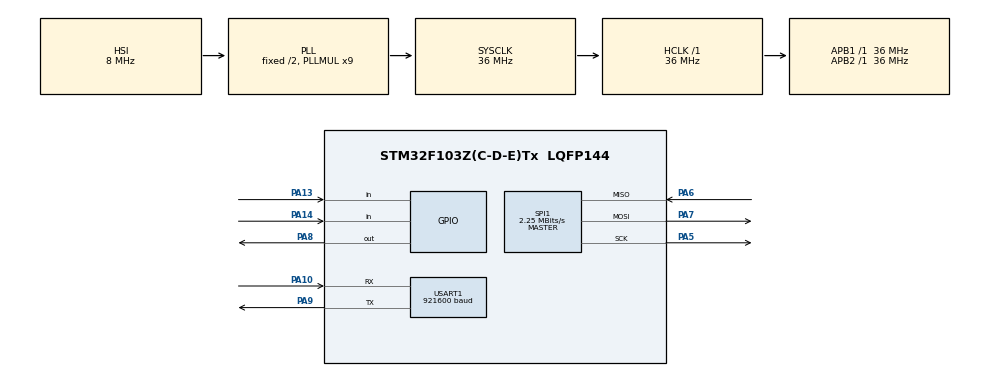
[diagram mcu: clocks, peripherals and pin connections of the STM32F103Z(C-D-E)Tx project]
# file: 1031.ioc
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Dma.Request0=USART1_RX
Dma.Request1=USART1_TX
Dma.Request2=SPI1_RX
Dma.Request3=SPI1_TX
Dma.SPI1_RX.2.Direction=DMA_PERIPH_TO_MEMORY
Dma.SPI1_RX.2.Instance=DMA1_Channel2
Dma.SPI1_RX.2.MemDataAlignment=DMA_MDATAALIGN_BYTE
Dma.SPI1_RX.2.MemInc=DMA_MINC_ENABLE
Dma.SPI1_RX.2.Mode=DMA_NORMAL
Dma.SPI1_RX.2.PeriphDataAlignment=DMA_PDATAALIGN_BYTE
Dma.SPI1_RX.2.PeriphInc=DMA_PINC_DISABLE
Dma.SPI1_RX.2.Priority=DMA_PRIORITY_LOW
Dma.SPI1_TX.3.Direction=DMA_MEMORY_TO_PERIPH
Dma.SPI1_TX.3.Instance=DMA1_Channel3
Dma.SPI1_TX.3.MemDataAlignment=DMA_MDATAALIGN_BYTE
Dma.SPI1_TX.3.MemInc=DMA_MINC_ENABLE
Dma.SPI1_TX.3.Mode=DMA_NORMAL
Dma.SPI1_TX.3.PeriphDataAlignment=DMA_PDATAALIGN_BYTE
Dma.SPI1_TX.3.PeriphInc=DMA_PINC_DISABLE
Dma.SPI1_TX.3.Priority=DMA_PRIORITY_LOW
Dma.USART1_RX.0.Direction=DMA_PERIPH_TO_MEMORY
Dma.USART1_RX.0.Instance=DMA1_Channel5
Dma.USART1_RX.0.MemDataAlignment=DMA_MDATAALIGN_BYTE
Dma.USART1_RX.0.MemInc=DMA_MINC_ENABLE
Dma.USART1_RX.0.Mode=DMA_NORMAL
Dma.USART1_RX.0.PeriphDataAlignment=DMA_PDATAALIGN_BYTE
Dma.USART1_RX.0.PeriphInc=DMA_PINC_DISABLE
Dma.USART1_RX.0.Priority=DMA_PRIORITY_LOW
Dma.USART1_TX.1.Direction=DMA_MEMORY_TO_PERIPH
Dma.USART1_TX.1.Instance=DMA1_Channel4
Dma.USART1_TX.1.MemDataAlignment=DMA_MDATAALIGN_BYTE
Dma.USART1_TX.1.MemInc=DMA_MINC_ENABLE
Dma.USART1_TX.1.Mode=DMA_NORMAL
Dma.USART1_TX.1.PeriphDataAlignment=DMA_PDATAALIGN_BYTE
Dma.USART1_TX.1.PeriphInc=DMA_PINC_DISABLE
Dma.USART1_TX.1.Priority=DMA_PRIORITY_LOW
Mcu.Family=STM32F1
Mcu.Name=STM32F103Z(C-D-E)Tx
Mcu.Package=LQFP144
NVIC.DMA1_Channel2_IRQn=true\:0\:0\:false\:false\:true\:false
NVIC.DMA1_Channel3_IRQn=true\:0\:0\:false\:false\:true\:false
NVIC.DMA1_Channel4_IRQn=true\:0\:0\:false\:false\:true\:false
NVIC.DMA1_Channel5_IRQn=true\:0\:0\:false\:false\:true\:false
NVIC.PriorityGroup=NVIC_PRIORITYGROUP_4
NVIC.SPI1_IRQn=true\:0\:0\:false\:false\:true\:true
NVIC.USART1_IRQn=true\:0\:0\:false\:false\:true\:true
PA10.Mode=Asynchronous
PA10.Signal=USART1_RX
PA13.Signal=GPIO_Input
PA14.Signal=GPIO_Input
PA5.Mode=Full_Duplex_Master
PA5.Signal=SPI1_SCK
PA6.Mode=Full_Duplex_Master
PA6.Signal=SPI1_MISO
PA7.Mode=Full_Duplex_Master
PA7.Signal=SPI1_MOSI
PA8.Signal=GPIO_Output
PA9.Mode=Asynchronous
PA9.Signal=USART1_TX
ProjectManager.HeapSize=0x200
ProjectManager.StackSize=0x400
ProjectManager.TargetToolchain=EWARM V8
RCC.AHBFreq_Value=36000000
RCC.APB1Freq_Value=36000000
RCC.APB1TimFreq_Value=36000000
RCC.APB2Freq_Value=36000000
RCC.APB2TimFreq_Value=36000000
RCC.HCLKFreq_Value=36000000
RCC.PLLMUL=RCC_PLL_MUL9
RCC.SYSCLKFreq_VALUE=36000000
RCC.SYSCLKSource=RCC_SYSCLKSOURCE_PLLCLK
RCC.USBFreq_Value=36000000
SPI1.BaudRatePrescaler=SPI_BAUDRATEPRESCALER_16
SPI1.CLKPhase=SPI_PHASE_1EDGE
SPI1.CLKPolarity=SPI_POLARITY_HIGH
SPI1.CalculateBaudRate=2.25 MBits/s
SPI1.Direction=SPI_DIRECTION_2LINES
SPI1.FirstBit=SPI_FIRSTBIT_MSB
SPI1.Mode=SPI_MODE_MASTER
SPI1.VirtualType=VM_MASTER
STMicroelectronics.X-CUBE-MEMS1.5.2.1.BoardOoComponentJjMEMS.apiComponent0=Board Extension\:IKS01A2
STMicroelectronics.X-CUBE-MEMS1.5.2.1.BoardOoComponentJjMEMS.apiDoc0=Documentation/X_CUBE_MEMS1.chm
STMicroelectronics.X-CUBE-MEMS1.5.2.1.BoardOoComponentJjMEMS.cmp_version0=5.2.1
STMicroelectronics.X-CUBE-MEMS1.5.2.1.BoardOoComponentJjMEMS.component0=Board Component
STMicroelectronics.X-CUBE-MEMS1.5.2.1.BoardOoComponentJjMEMS.description0=MEMS library for custom boards,LSM6DSL component driver
STMicroelectronics.X-CUBE-MEMS1.5.2.1.BoardOoComponentJjMEMS.diagnostic0=This component should operate correctly.
STMicroelectronics.X-CUBE-MEMS1.5.2.1.BoardOoComponentJjMEMS.documentation0=Documentation/STMicroelectronics.X-CUBE-MEMS1_GettingStarted.pdf
STMicroelectronics.X-CUBE-MEMS1.5.2.1.BoardOoComponentJjMEMS.group0=AccGyr
STMicroelectronics.X-CUBE-MEMS1.5.2.1.BoardOoComponentJjMEMS.paramName0=MEMSCcBoardOoComponentJjAccGyrJjLSM6DSL
STMicroelectronics.X-CUBE-MEMS1.5.2.1.BoardOoComponentJjMEMS.sevirity0=none
STMicroelectronics.X-CUBE-MEMS1.5.2.1.BoardOoComponentJjMEMS.sub-group0=LSM6DSL
STMicroelectronics.X-CUBE-MEMS1.5.2.1.BoardOoComponentJjMEMS.variant0=SPI
STMicroelectronics.X-CUBE-MEMS1.5.2.1.BoardOoComponentJjMEMS_apiSize=1
STMicroelectronics.X-CUBE-MEMS1.5.2.1.BoardOoComponentJjMEMS_bundle=MEMS
STMicroelectronics.X-CUBE-MEMS1.5.2.1.BoardOoComponentJjMEMS_class=BoardOoComponent
STMicroelectronics.X-CUBE-MEMS1.5.2.1.BoardOoComponentJjMEMS_name=X-CUBE-MEMS1
STMicroelectronics.X-CUBE-MEMS1.5.2.1.BoardOoComponentJjMEMS_size=1
STMicroelectronics.X-CUBE-MEMS1.5.2.1.BoardOoComponentJjMEMS_vendor=STMicroelectronics
STMicroelectronics.X-CUBE-MEMS1.5.2.1.BoardOoComponentJjMEMS_version=5.2.1
STMicroelectronics.X-CUBE-MEMS1.5.2.1.MEMSCcBoardOoComponentJjAccGyrJjLSM6DSL=SPI
STMicroelectronics.X-CUBE-MEMS1.5.2.1_BoardOoComponentJjMEMS_RteComponent0=\#define LSM6DSL_ACCGYR_SPI
STMicroelectronics.X-CUBE-MEMS1.5.2.1_BoardOoComponentJjMEMS_RteComponentsize=1
STMicroelectronics.X-CUBE-MEMS1.5.2.1_BoardOoExtensionJjMEMS_RteComponentsize=0
STMicroelectronics.X-CUBE-MEMS1.5.2.1_BoardOoSupportJjSTM32CubeIiCustomIiBSPIiDrivers_RteComponentsize=0
STMicroelectronics.X-CUBE-MEMS1.5.2.1_DeviceJjApplication_RteComponentsize=0
STMicroelectronics.X-CUBE-MEMS1.5.2.1_description=Drivers and sample applications for MEMS components
STMicroelectronics.X-CUBE-MEMS1.5.2.1_license=en.DM00367782.pdf
USART1.BaudRate=921600
USART1.VirtualMode=VM_ASYNC
VP_SYS_VS_ND.Mode=No_Debug
board=custom

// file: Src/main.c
/* USER CODE BEGIN Header */
/**
  ******************************************************************************
  * @file           : main.c
  * @brief          : Main program body
  ******************************************************************************
  * This notice applies to any and all portions of this file
  * that are not between comment pairs USER CODE BEGIN and
  * USER CODE END. Other portions of this file, whether
  * inserted by the user or by software development tools
  * are owned by their respective copyright owners.
  *
  * Copyright (c) 2019 STMicroelectronics International N.V.
  * All rights reserved.
  *
  * Redistribution and use in source and binary forms, with or without
  * modification, are permitted, provided that the following conditions are met:
  *
  * 1. Redistribution of source code must retain the above copyright notice,
  *    this list of conditions and the following disclaimer.
  * 2. Redistributions in binary form must reproduce the above copyright notice,
  *    this list of conditions and the following disclaimer in the documentation
  *    and/or other materials provided with the distribution.
  * 3. Neither the name of STMicroelectronics nor the names of other
  *    contributors to this software may be used to endorse or promote products
  *    derived from this software without specific written permission.
  * 4. This software, including modifications and/or derivative works of this
  *    software, must execute solely and exclusively on microcontroller or
  *    microprocessor devices manufactured by or for STMicroelectronics.
  * 5. Redistribution and use of this software other than as permitted under
  *    this license is void and will automatically terminate your rights under
  *    this license.
  *
  * THIS SOFTWARE IS PROVIDED BY STMICROELECTRONICS AND CONTRIBUTORS "AS IS"
  * AND ANY EXPRESS, IMPLIED OR STATUTORY WARRANTIES, INCLUDING, BUT NOT
  * LIMITED TO, THE IMPLIED WARRANTIES OF MERCHANTABILITY, FITNESS FOR A
  * PARTICULAR PURPOSE AND NON-INFRINGEMENT OF THIRD PARTY INTELLECTUAL PROPERTY
  * RIGHTS ARE DISCLAIMED TO THE FULLEST EXTENT PERMITTED BY LAW. IN NO EVENT
  * SHALL STMICROELECTRONICS OR CONTRIBUTORS BE LIABLE FOR ANY DIRECT, INDIRECT,
  * INCIDENTAL, SPECIAL, EXEMPLARY, OR CONSEQUENTIAL DAMAGES (INCLUDING, BUT NOT
  * LIMITED TO, PROCUREMENT OF SUBSTITUTE GOODS OR SERVICES; LOSS OF USE, DATA,
  * OR PROFITS; OR BUSINESS INTERRUPTION) HOWEVER CAUSED AND ON ANY THEORY OF
  * LIABILITY, WHETHER IN CONTRACT, STRICT LIABILITY, OR TORT (INCLUDING
  * NEGLIGENCE OR OTHERWISE) ARISING IN ANY WAY OUT OF THE USE OF THIS SOFTWARE,
  * EVEN IF ADVISED OF THE POSSIBILITY OF SUCH DAMAGE.
  *
  ******************************************************************************
  */
/* USER CODE END Header */

#include "main.h"

/* USER CODE BEGIN Includes */
#include "stdio.h"
#include "string.h"
//#include "mems_conf.h"

/* USER CODE END Includes */

/* USER CODE BEGIN PD */
#define BSP_LSM6DSL_CS_PORT GPIOA
#define BSP_LSM6DSL_CS_PIN GPIO_PIN_8
#define BUFFER_SIZE 2

/* USER CODE END PD */

SPI_HandleTypeDef hspi1;
DMA_HandleTypeDef hdma_spi1_rx;
DMA_HandleTypeDef hdma_spi1_tx;

UART_HandleTypeDef huart1;
DMA_HandleTypeDef hdma_usart1_rx;
DMA_HandleTypeDef hdma_usart1_tx;

/* USER CODE BEGIN PV */
//extern SPI_HandleTypeDef hspi1;

static  char str[100];
volatile uint8_t rx_len=0;                            //接收数据长度
volatile uint8_t recv_end_flag=0;                     //接收完成标记位
uint8_t rx_buffer[BUFFER_SIZE]={0},spi_rx_buffer[100],receivecomplete=0;   //接收数据缓存

/* USER CODE END PV */

void SystemClock_Config(void);
static void MX_GPIO_Init(void);
static void MX_DMA_Init(void);
static void MX_USART1_UART_Init(void);
static void MX_SPI1_Init(void);

/* USER CODE BEGIN 0 */
void DMA_Usart_Send(uint8_t *buf,uint8_t len)//串口发送封装
{
    while (HAL_DMA_GetState(&hdma_usart1_tx) != HAL_DMA_STATE_READY){}

   if(HAL_UART_Transmit_DMA(&huart1, buf,len)!= HAL_OK)
        {
            Error_Handler();
        }
    while (HAL_DMA_GetState(&hdma_usart1_tx) != HAL_DMA_STATE_READY){}
}

void HAL_UART_RxCpltCallback(UART_HandleTypeDef *UartHandle){

     HAL_UART_Transmit_DMA(&huart1,rx_buffer,sizeof(rx_buffer)-1);//可以通过DMA把数据发出去

    HAL_UART_Receive_DMA(&huart1, (uint8_t *)rx_buffer, sizeof(rx_buffer)-1);    //重新使能接收
}
//void HAL_SPI_TxCpltCallback(SPI_HandleTypeDef *hspi)
//{
////if(hspi==&hspi1){
////启动接收
//	HAL_SPI_Receive(&hspi1,spi_rx_buffer,1,1000);

////}
//}
//void HAL_SPI_RxCpltCallback(SPI_HandleTypeDef *hspi)
//{

//	sprintf(str,"spi_rx_buffer = 0x%x \r\n",spi_rx_buffer[0]);
//	receivecomplete=1;

//}

uint8_t SPI1SendByte(uint8_t data)
{
    unsigned char writeCommand[1];
    unsigned char readValue[1];

    writeCommand[0] = data;
//	HAL_GPIO_WritePin(BSP_LSM6DSL_CS_PORT, BSP_LSM6DSL_CS_PIN, GPIO_PIN_RESET);
    HAL_SPI_TransmitReceive(&hspi1, (uint8_t*)&writeCommand, (uint8_t*)&readValue, 1, 10);
//HAL_GPIO_WritePin(BSP_LSM6DSL_CS_PORT, BSP_LSM6DSL_CS_PIN, GPIO_PIN_SET);

	return readValue[0];
}
void SPI1_WriteReg(uint8_t address, uint8_t value)
{
HAL_GPIO_WritePin(BSP_LSM6DSL_CS_PORT, BSP_LSM6DSL_CS_PIN, GPIO_PIN_RESET);
	SPI1SendByte(address);

    SPI1SendByte(value);
HAL_GPIO_WritePin(BSP_LSM6DSL_CS_PORT, BSP_LSM6DSL_CS_PIN, GPIO_PIN_SET);
}

uint8_t SPI1_ReadReg(uint8_t address)
{
    uint8_t	val;

HAL_GPIO_WritePin(BSP_LSM6DSL_CS_PORT, BSP_LSM6DSL_CS_PIN, GPIO_PIN_RESET);
    SPI1SendByte(address);

    val = SPI1SendByte(0xff);
HAL_GPIO_WritePin(BSP_LSM6DSL_CS_PORT, BSP_LSM6DSL_CS_PIN, GPIO_PIN_SET);
    return val;
}
  void lsm6dsl_write_reg1(uint8_t reg, uint8_t value)
{
    uint8_t send_buffer[2];
    send_buffer[0] = reg;// & 0x7f;
    send_buffer[1] = value;
SPI1_WriteReg(send_buffer[0],send_buffer[1]);
//	BSP_LSM6DSL_SPI_Send(send_buffer, 2);

 }

  uint8_t lsm6dsl_read_reg1(uint8_t reg)
{
    uint8_t rxBuf[2];
    uint8_t txBuf[2];
   txBuf[0] = (reg | 0x80) & 0xbf; // reg|0x80;//SPI2_ReadWriteByte((reg|0x80)&0xbf);
    //发送寄存器号 //Ored with "read request" bit
//	if(BSP_LSM6DSL_SPI_Send(txBuf, 1)>0)
//        {
//                if(BSP_LSM6DSL_SPI_Recv(rxBuf, 2)==2)
//                {
//                }
//        }
//	HAL_SPI_TransmitReceive(&hspi1,txBuf, rxBuf,1,100);
rxBuf[0]=SPI1_ReadReg(txBuf[0]);

    return rxBuf[0];
}
/* USER CODE END 0 */

int main(void)
{

  /* MCU Configuration--------------------------------------------------------*/

  /* Reset of all peripherals, Initializes the Flash interface and the Systick. */
  HAL_Init();

  /* Configure the system clock */
  SystemClock_Config();

  /* Initialize all configured peripherals */
  MX_GPIO_Init();
  MX_DMA_Init();
  MX_USART1_UART_Init();
  MX_SPI1_Init();
  /* USER CODE BEGIN 2 */
if(HAL_UART_Receive_DMA(&huart1, (uint8_t *)rx_buffer, sizeof(rx_buffer)-1) != HAL_OK)//main函数while(1)前，启动一次DMA接收
    {
        Error_Handler();
    }
sprintf(str,"begin %d \r\n",1);
DMA_Usart_Send((uint8_t*)str,30);

//    HAL_UART_Transmit(&huart1, (uint8_t *)&"\r\ninto HAL_UART_RxCpltCallback\r\n",32,0xffff);//验证进入这个函数了

//HAL_UART_Transmit_DMA(&huart1,(uint8_t*)str,30);
//HAL_UART_Receive_DMA(&huart1,(uint8_t*)str,1);

//read lsm6dsl
//lsm6dsl_write_reg1(0x12,0x01);
		for(long i=0xffff;i>0;i--);
sprintf(str,"begin 0x%x \r\n",lsm6dsl_read_reg1(0x0f));
DMA_Usart_Send((uint8_t*)str,30);
if(lsm6dsl_read_reg1(0x0f)==0x6a)
{sprintf(str,"id =0x6a \r\n" );
DMA_Usart_Send((uint8_t*)str,30);}
//		str[0]=0x0f;str[1]=0x0f;
//		HAL_SPI_Transmit(&hspi1,(uint8_t*)str,1,1000);
//		while(receivecomplete==1);
//		receivecomplete=0;
//		DMA_Usart_Send((uint8_t*)str,30);
//		 		for(long i=0xfffff;i>0;i--);
//				str[0]=0x0f;str[1]=0x0f;
//    HAL_SPI_Transmit_DMA(&hspi1,(uint8_t*)str,1);
//		    while (HAL_DMA_GetState(&hdma_spi1_tx) != HAL_DMA_STATE_READY){}
//			HAL_SPI_Receive_DMA(&hspi1,(uint8_t*)str,1);
//						    while (HAL_DMA_GetState(&hdma_spi1_rx) != HAL_DMA_STATE_READY){}
//sprintf(str,"begin 0x%x \r\n",str[0]);
//DMA_Usart_Send((uint8_t*)str,30);
  /* USER CODE END 2 */

  /* Infinite loop */
  while (1)
  {
				for(long i=0xfffff;i>0;i--);

sprintf(str,"begin 0x%x \r\n",lsm6dsl_read_reg1(0x0f));
DMA_Usart_Send((uint8_t*)str,30);
if(lsm6dsl_read_reg1(0x0f)==0x6a)
{sprintf(str,"id =0x6a \r\n" );
DMA_Usart_Send((uint8_t*)str,30);}
  }
}

void SystemClock_Config(void)
{
  RCC_OscInitTypeDef RCC_OscInitStruct = {0};
  RCC_ClkInitTypeDef RCC_ClkInitStruct = {0};

  /**Initializes the CPU, AHB and APB busses clocks
  */
  RCC_OscInitStruct.OscillatorType = RCC_OSCILLATORTYPE_HSI;
  RCC_OscInitStruct.HSIState = RCC_HSI_ON;
  RCC_OscInitStruct.HSICalibrationValue = RCC_HSICALIBRATION_DEFAULT;
  RCC_OscInitStruct.PLL.PLLState = RCC_PLL_ON;
  RCC_OscInitStruct.PLL.PLLSource = RCC_PLLSOURCE_HSI_DIV2;
  RCC_OscInitStruct.PLL.PLLMUL = RCC_PLL_MUL9;
  if (HAL_RCC_OscConfig(&RCC_OscInitStruct) != HAL_OK)
  {
    Error_Handler();
  }
  /**Initializes the CPU, AHB and APB busses clocks
  */
  RCC_ClkInitStruct.ClockType = RCC_CLOCKTYPE_HCLK|RCC_CLOCKTYPE_SYSCLK
                              |RCC_CLOCKTYPE_PCLK1|RCC_CLOCKTYPE_PCLK2;
  RCC_ClkInitStruct.SYSCLKSource = RCC_SYSCLKSOURCE_PLLCLK;
  RCC_ClkInitStruct.AHBCLKDivider = RCC_SYSCLK_DIV1;
  RCC_ClkInitStruct.APB1CLKDivider = RCC_HCLK_DIV1;
  RCC_ClkInitStruct.APB2CLKDivider = RCC_HCLK_DIV1;

  if (HAL_RCC_ClockConfig(&RCC_ClkInitStruct, FLASH_LATENCY_1) != HAL_OK)
  {
    Error_Handler();
  }
}

static void MX_SPI1_Init(void)
{

  /* SPI1 parameter configuration*/
  hspi1.Instance = SPI1;
  hspi1.Init.Mode = SPI_MODE_MASTER;
  hspi1.Init.Direction = SPI_DIRECTION_2LINES;
  hspi1.Init.DataSize = SPI_DATASIZE_8BIT;
  hspi1.Init.CLKPolarity = SPI_POLARITY_HIGH;
  hspi1.Init.CLKPhase = SPI_PHASE_2EDGE;
  hspi1.Init.NSS = SPI_NSS_SOFT;
  hspi1.Init.BaudRatePrescaler = SPI_BAUDRATEPRESCALER_32;
  hspi1.Init.FirstBit = SPI_FIRSTBIT_MSB;
  hspi1.Init.TIMode = SPI_TIMODE_DISABLE;
  hspi1.Init.CRCCalculation = SPI_CRCCALCULATION_DISABLE;
  hspi1.Init.CRCPolynomial = 10;
  if (HAL_SPI_Init(&hspi1) != HAL_OK)
  {
    Error_Handler();
  }

}

static void MX_USART1_UART_Init(void)
{

  huart1.Instance = USART1;
  huart1.Init.BaudRate = 921600;
  huart1.Init.WordLength = UART_WORDLENGTH_8B;
  huart1.Init.StopBits = UART_STOPBITS_1;
  huart1.Init.Parity = UART_PARITY_NONE;
  huart1.Init.Mode = UART_MODE_TX_RX;
  huart1.Init.HwFlowCtl = UART_HWCONTROL_NONE;
  huart1.Init.OverSampling = UART_OVERSAMPLING_16;
  if (HAL_UART_Init(&huart1) != HAL_OK)
  {
    Error_Handler();
  }

}

static void MX_DMA_Init(void)
{
  /* DMA controller clock enable */
  __HAL_RCC_DMA1_CLK_ENABLE();

  /* DMA interrupt init */
  /* DMA1_Channel2_IRQn interrupt configuration */
  HAL_NVIC_SetPriority(DMA1_Channel2_IRQn, 0, 0);
  HAL_NVIC_EnableIRQ(DMA1_Channel2_IRQn);
  /* DMA1_Channel3_IRQn interrupt configuration */
  HAL_NVIC_SetPriority(DMA1_Channel3_IRQn, 0, 0);
  HAL_NVIC_EnableIRQ(DMA1_Channel3_IRQn);
  /* DMA1_Channel4_IRQn interrupt configuration */
  HAL_NVIC_SetPriority(DMA1_Channel4_IRQn, 0, 0);
  HAL_NVIC_EnableIRQ(DMA1_Channel4_IRQn);
  /* DMA1_Channel5_IRQn interrupt configuration */
  HAL_NVIC_SetPriority(DMA1_Channel5_IRQn, 0, 0);
  HAL_NVIC_EnableIRQ(DMA1_Channel5_IRQn);

}

static void MX_GPIO_Init(void)
{
  GPIO_InitTypeDef GPIO_InitStruct = {0};

  /* GPIO Ports Clock Enable */
  __HAL_RCC_GPIOA_CLK_ENABLE();

  /*Configure GPIO pin Output Level */
  HAL_GPIO_WritePin(GPIOA, GPIO_PIN_8, GPIO_PIN_RESET);

  /*Configure GPIO pin : PA8 */
  GPIO_InitStruct.Pin = GPIO_PIN_8;
  GPIO_InitStruct.Mode = GPIO_MODE_OUTPUT_PP;
  GPIO_InitStruct.Pull = GPIO_NOPULL;
  GPIO_InitStruct.Speed = GPIO_SPEED_FREQ_LOW;
  HAL_GPIO_Init(GPIOA, &GPIO_InitStruct);

  /*Configure GPIO pins : PA13 PA14 */
  GPIO_InitStruct.Pin = GPIO_PIN_13|GPIO_PIN_14;
  GPIO_InitStruct.Mode = GPIO_MODE_INPUT;
  GPIO_InitStruct.Pull = GPIO_NOPULL;
  HAL_GPIO_Init(GPIOA, &GPIO_InitStruct);

}

void Error_Handler(void)
{
}

/************************ (C) COPYRIGHT STMicroelectronics *****END OF FILE****/
